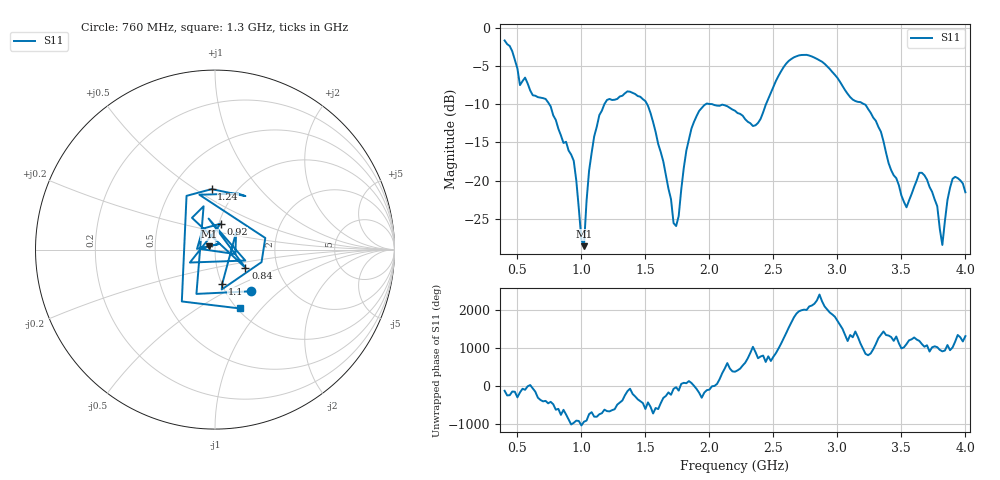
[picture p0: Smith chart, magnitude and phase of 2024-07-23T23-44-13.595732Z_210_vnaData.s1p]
!Created with skrf (http://scikit-rf.org).
# Hz S RI R 50.0
!freq ReS11 ImS11
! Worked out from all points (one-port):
!   181 points, 400 MHz to 4 GHz, reference 50 ohm
!   lowest |S11| = -28.6 dB at 1.02 GHz (marker M1), VSWR 1.08, Z = 46.9 + j1.79 ohm
!   |S11| at or under -10 dB: 749.6 MHz to 1.179 GHz (429.5 MHz wide, 44.5 % of centre); 1.514 GHz to 1.97 GHz (456.5 MHz wide, 26.2 % of centre); 3.212 GHz to end of sweep (the widest 3 of 4)
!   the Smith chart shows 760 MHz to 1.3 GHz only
!   S11 on the Smith chart (normalised r, x): 760 MHz: 1.30, -0.67; 840 MHz: 1.37, -0.29; 920 MHz: 1.02, +0.30; 1.1 GHz: 1.00, -0.40; 1.24 GHz: 0.77, +0.59; 1.3 GHz: 1.03, -0.77
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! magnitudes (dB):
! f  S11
! 400 MHz  -1.6
! 520 MHz  -7.5
! 760 MHz  -10.3
! 840 MHz  -14.1
! 860 MHz  -15.1
! 920 MHz  -16.6
! 1.02 GHz  -28.6
! 1.06 GHz  -18.7
! 1.1 GHz  -14.2
! 1.24 GHz  -9.4
! 1.3 GHz  -9.0
! 1.52 GHz  -10.2
! 1.72 GHz  -25.6
! 1.76 GHz  -24.7
! 1.82 GHz  -16.1
! 1.92 GHz  -10.9
! 2.2 GHz  -10.8
! 2.36 GHz  -12.7
! 2.66 GHz  -3.8
! 2.88 GHz  -4.4
! 3.1 GHz  -9.1
! 3.3 GHz  -12.2
! 3.56 GHz  -22.6
! 3.68 GHz  -19.3
! 3.78 GHz  -23.3
! 3.82 GHz  -28.4
! 3.9 GHz  -19.8
! 4 GHz  -21.5
